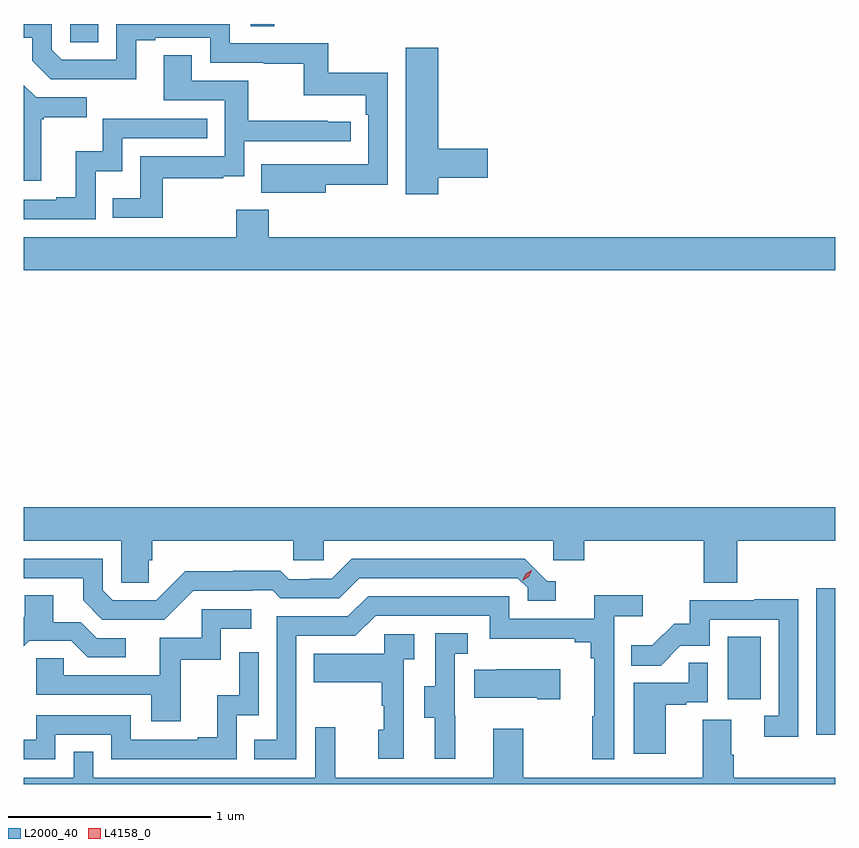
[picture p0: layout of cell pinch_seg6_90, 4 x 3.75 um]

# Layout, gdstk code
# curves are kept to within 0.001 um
import gdstk
lib = gdstk.Library(unit=1e-6, precision=1e-09)
def R(c, l, rs):  # rectangles x0, y0, x1, y1
    for r in rs: c.add(gdstk.rectangle(r[:2], r[2:], *l))
def P(c, l, *ps):  # polygons
    for p in ps: c.add(gdstk.Polygon(p, *l))
L2000_40 = (2000, 40)
L4158_0 = (4158, 0)

pinch_seg6_90 = lib.new_cell('pinch_seg6_90')
R(pinch_seg6_90, L2000_40, [(929.258,915.744,929.35,916.465), (928.82,915.918,928.984,916.225), (925.578,919.156,925.717,919.247), (926.469,919.237,926.585,919.247)])
P(pinch_seg6_90, L2000_40, [(926.839,918.454),(927.144,918.454),(927.144,919.006),(926.851,919.006),(926.851,919.152),(926.364,919.152),(926.364,919.247),(925.806,919.247),(925.806,919.071),(925.536,919.071),(925.488,919.119),(925.488,919.247),(925.35,919.247),(925.35,919.179),(925.392,919.179),(925.392,919.065),(925.482,918.975),(925.903,918.974),(925.903,919.167),(925.999,919.167),(925.999,919.179),(926.268,919.179),(926.268,919.056),(926.533,919.056),(926.533,919.051),(926.73,919.051),(926.73,918.896),(927.035,918.896),(927.035,918.8),(927.048,918.8),(927.048,918.555),(926.521,918.556),(926.521,918.416),(926.839,918.416)],
  [(927.394,918.49),(927.637,918.49),(927.637,918.632),(927.394,918.632),(927.394,919.129),(927.233,919.129),(927.233,918.408),(927.394,918.408)],
  [(926.035,918.486),(926.333,918.486),(926.333,918.497),(926.436,918.497),(926.436,918.669),(926.962,918.669),(926.962,918.765),(926.849,918.765),(926.849,918.77),(926.456,918.77),(926.456,918.966),(926.179,918.966),(926.179,919.094),(926.039,919.094),(926.039,918.87),(926.34,918.87),(926.34,918.594),(925.924,918.594),(925.924,918.388),(925.789,918.388),(925.789,918.291),(926.035,918.291)],
  [(925.435,918.777),(925.447,918.777),(925.447,918.788),(925.66,918.788),(925.66,918.885),(925.41,918.885),(925.35,918.945),(925.35,918.474),(925.435,918.474)],
  [(925.704,918.521),(925.836,918.521),(925.836,918.684),(926.255,918.684),(926.255,918.78),(925.74,918.78),(925.74,918.619),(925.607,918.619),(925.607,918.394),(925.511,918.394),(925.511,918.381),(925.35,918.381),(925.35,918.285),(925.704,918.285)],
  [(929.35,918.196),(926.558,918.196),(926.558,918.331),(926.398,918.331),(926.398,918.196),(925.35,918.196),(925.35,918.032),(929.35,918.032)],
  [(925.967,916.602),(925.982,916.602),(925.982,916.7),(926.679,916.7),(926.679,916.602),(926.829,916.602),(926.829,916.7),(927.96,916.7),(927.96,916.602),(928.112,916.602),(928.112,916.7),(928.703,916.7),(928.703,916.492),(928.868,916.492),(928.868,916.7),(929.35,916.7),(929.35,916.864),(925.35,916.864),(925.35,916.7),(925.83,916.7),(925.83,916.492),(925.967,916.492)],
  [(926.184,916.452),(926.477,916.452),(926.477,916.455),(926.576,916.455),(926.615,916.416),(926.904,916.416),(927.003,916.515),(927.786,916.515),(927.834,916.467),(927.834,916.404),(927.973,916.404),(927.973,916.5),(927.93,916.5),(927.819,916.611),(926.966,916.611),(926.867,916.512),(926.76,916.512),(926.76,916.509),(926.657,916.509),(926.615,916.552),(926.382,916.552),(926.382,916.549),(926.146,916.549),(926.004,916.407),(925.788,916.407),(925.74,916.455),(925.74,916.611),(925.35,916.611),(925.35,916.515),(925.643,916.515),(925.643,916.405),(925.737,916.311),(926.043,916.311)],
  [(926.694,916.23),(926.985,916.23),(927.084,916.329),(927.648,916.329),(927.648,916.217),(928.067,916.217),(928.067,916.198),(928.144,916.198),(928.144,916.121),(928.163,916.121),(928.163,915.833),(928.152,915.833),(928.152,915.621),(928.26,915.621),(928.26,916.328),(928.402,916.328),(928.402,916.43),(928.163,916.43),(928.163,916.314),(927.744,916.314),(927.744,916.425),(927.047,916.425),(926.948,916.326),(926.598,916.326),(926.598,915.717),(926.485,915.717),(926.485,915.621),(926.694,915.621)],
  [(925.852,916.218),(925.71,916.218),(925.63,916.298),(925.495,916.298),(925.495,916.43),(925.355,916.43),(925.355,916.328),(925.35,916.323),(925.35,916.179),(925.377,916.206),(925.583,916.206),(925.664,916.125),(925.852,916.125)],
  [(929.169,916.412),(928.951,916.412),(928.951,916.407),(928.633,916.407),(928.633,916.29),(928.556,916.29),(928.449,916.183),(928.345,916.183),(928.345,916.084),(928.489,916.084),(928.587,916.182),(928.731,916.182),(928.731,916.311),(929.073,916.311),(929.073,915.837),(929.001,915.837),(929.001,915.732),(929.169,915.732)],
  [(926.123,916.113),(926.322,916.113),(926.322,916.266),(926.47,916.266),(926.47,916.362),(926.226,916.362),(926.226,916.221),(926.021,916.221),(926.021,916.035),(925.547,916.035),(925.547,916.119),(925.41,916.119),(925.41,915.939),(925.979,915.939),(925.979,915.81),(926.123,915.81)],
  [(927.476,915.837),(927.474,915.837),(927.474,916.141),(927.538,916.141),(927.538,916.244),(927.378,916.244),(927.378,915.981),(927.323,915.981),(927.323,915.826),(927.377,915.826),(927.377,915.624),(927.476,915.624)],
  [(927.222,916.115),(927.274,916.115),(927.274,916.239),(927.126,916.239),(927.126,916.141),(926.779,916.141),(926.779,916.001),(927.114,916.001),(927.114,915.887),(927.124,915.887),(927.124,915.768),(927.098,915.768),(927.098,915.624),(927.222,915.624)],
  [(925.506,915.744),(925.782,915.744),(925.782,915.621),(926.4,915.621),(926.4,915.84),(926.508,915.84),(926.508,916.15),(926.412,916.15),(926.412,915.938),(926.303,915.938),(926.303,915.73),(926.207,915.73),(926.207,915.717),(925.878,915.717),(925.878,915.84),(925.41,915.84),(925.41,915.717),(925.35,915.717),(925.35,915.621),(925.506,915.621)],
  [(928.516,915.891),(928.616,915.891),(928.616,915.903),(928.722,915.903),(928.722,916.097),(928.627,916.097),(928.627,915.999),(928.358,915.999),(928.358,915.648),(928.516,915.648)],
  [(927.994,916.066),(927.679,916.066),(927.679,916.063),(927.571,916.063),(927.571,915.926),(927.881,915.926),(927.881,915.919),(927.994,915.919)],
  [(929.35,915.532),(928.85,915.532),(928.85,915.644),(928.837,915.644),(928.837,915.818),(928.697,915.818),(928.697,915.532),(927.813,915.532),(927.813,915.772),(927.665,915.772),(927.665,915.532),(926.885,915.532),(926.885,915.781),(926.787,915.781),(926.787,915.532),(925.692,915.532),(925.692,915.659),(925.596,915.659),(925.596,915.532),(925.35,915.532),(925.35,915.5),(929.35,915.5)])
P(pinch_seg6_90, L4158_0, [(927.808,916.503),(927.808,916.503),(927.824,916.536),(927.854,916.555),(927.854,916.555),(927.854,916.555),(927.839,916.522),(927.808,916.503)])

lib.write_gds('pinch_seg6_90.gds')
